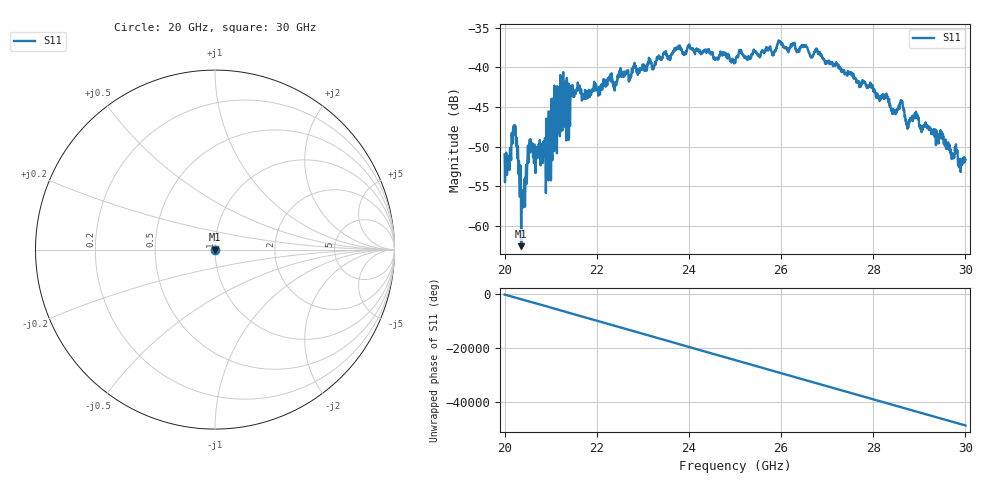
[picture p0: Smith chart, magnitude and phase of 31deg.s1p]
#  HZ  S  RI  R  50.00
! Rohde & Schwarz ZVA40 4Ports - Version 3.90 - 1145.1110k42 SN: 100403
! Date: 2023-10-03 10:37:21
! Measurement: S12
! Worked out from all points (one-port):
!   5001 points, 20 GHz to 30 GHz, reference 50 ohm
!   lowest |S11| = -62.6 dB at 20.36 GHz (marker M1), VSWR 1.00, Z = 50.1 - j0.0216 ohm
!   |S11| at or under -10 dB: start of sweep to end of sweep
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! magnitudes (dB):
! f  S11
! 20 GHz  -51.0
! 20.09 GHz  -51.4
! 20.22 GHz  -48.0
! 20.36 GHz  -62.6
! 20.41 GHz  -56.5
! 20.55 GHz  -49.8
! 20.68 GHz  -50.9
! 20.94 GHz  -50.0
! 21.25 GHz  -42.0
! 21.38 GHz  -45.0
! 21.48 GHz  -43.2
! 21.72 GHz  -43.8
! 22.39 GHz  -42.2
! 22.5 GHz  -41.0
! 23.24 GHz  -40.0
! 23.75 GHz  -37.5
! 25 GHz  -39.4
! 26.25 GHz  -37.0
! 27.5 GHz  -40.8
! 28.3 GHz  -43.8
! 28.44 GHz  -45.4
! 28.62 GHz  -44.3
! 28.75 GHz  -47.5
! 28.94 GHz  -46.3
! 29.04 GHz  -47.8
! 29.48 GHz  -48.5
! 29.88 GHz  -51.6
! 30 GHz  -51.7
